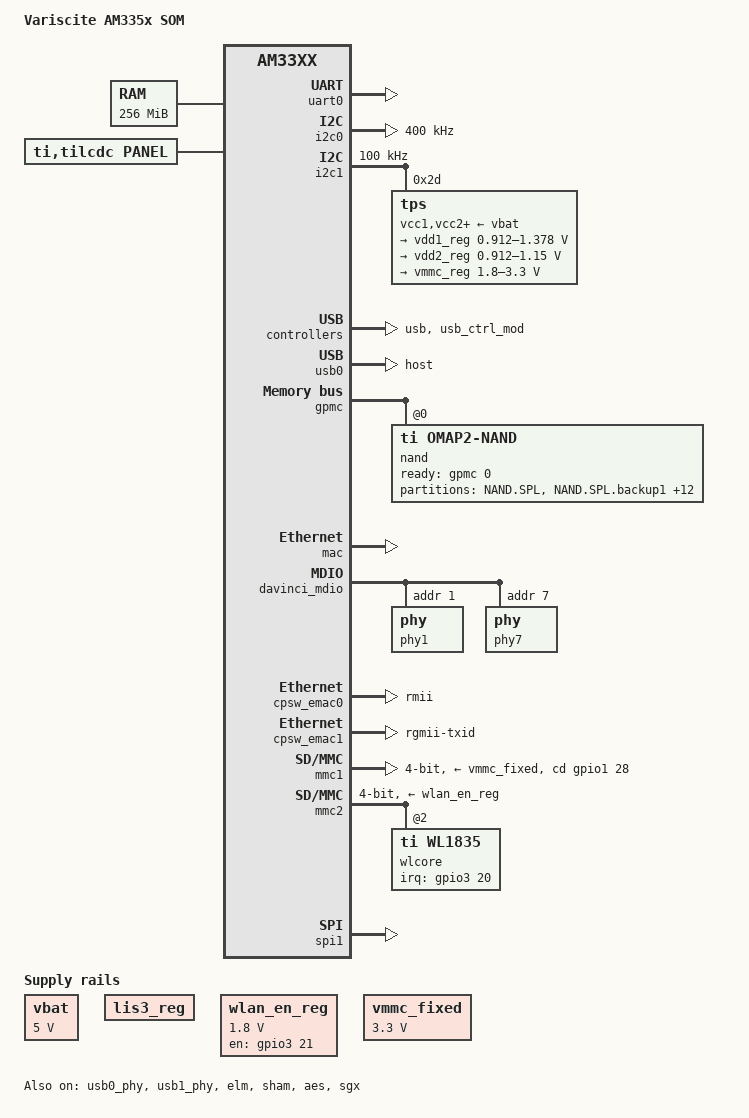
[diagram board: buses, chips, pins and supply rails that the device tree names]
/*
 * Copyright (C) 2016 Netico Solutions
 *
 * This program is free software; you can redistribute it and/or modify
 * it under the terms of the GNU General Public License version 2 as
 * published by the Free Software Foundation.
 */

/*
 * Netico uRTU
 */

/dts-v1/;

#include "am33xx.dtsi"
#include <dt-bindings/pwm/pwm.h>
#include <dt-bindings/interrupt-controller/irq.h>

/ {
	model = "Variscite AM335x SOM";
	compatible = "ti,var-som-am33", "ti,am33xx";

	cpus {
		cpu@0 {
			cpu0-supply = <&vdd1_reg>;
		};
	};

	memory {
		device_type = "memory";
		reg = <0x80000000 0x10000000>; /* 256 MB */
	};

	vbat: fixedregulator@0 {
		compatible = "regulator-fixed";
		regulator-name = "vbat";
		regulator-min-microvolt = <5000000>;
		regulator-max-microvolt = <5000000>;
		regulator-boot-on;
	};

	lis3_reg: fixedregulator@1 {
		compatible = "regulator-fixed";
		regulator-name = "lis3_reg";
		regulator-boot-on;
	};

	wlan_en_reg: fixedregulator@2 {
		compatible = "regulator-fixed";
		regulator-name = "wlan-en-regulator";
		regulator-min-microvolt = <1800000>;
		regulator-max-microvolt = <1800000>;
		gpio = <&gpio3 21 GPIO_ACTIVE_HIGH>;
		enable-active-high;
	};

	vmmc_fixed: fixedregulator@3 {
		compatible = "regulator-fixed";
		regulator-name = "vmmc_fixed";
		regulator-min-microvolt = <3300000>;
		regulator-max-microvolt = <3300000>;
		regulator-always-on;
		regulator-boot-on;
	};

	panel {
		compatible = "ti,tilcdc,panel";
		pinctrl-names = "default", "sleep";
		pinctrl-0 = <&lcd_pins_default>;
		pinctrl-1 = <&lcd_pins_sleep>;
		status = "okay";
		panel-info {
			ac-bias           = <255>;
			ac-bias-intrpt    = <0>;
			dma-burst-sz      = <16>;
			bpp               = <32>;
			fdd               = <0x80>;
			sync-edge         = <0>;
			sync-ctrl         = <1>;
			raster-order      = <0>;
			fifo-th           = <0>;
		};
		display-timings {
			800x480 {
				hactive         = <800>;
				vactive         = <480>;
				hback-porch     = <39>;
				hfront-porch    = <39>;
				hsync-len       = <47>;
				vback-porch     = <29>;
				vfront-porch    = <13>;
				vsync-len       = <2>;
				clock-frequency = <30000000>;
				hsync-active    = <1>;
				vsync-active    = <1>;
			};
		};
	};

	kim {
		compatible = "kim";
		nshutdown_gpio = <105>; /* Bank3, pin9 */
		dev_name = "/dev/ttyO1";
		flow_cntrl = <1>;
		baud_rate = <3000000>;
	};

	btwilink {
		compatible = "btwilink";
	};
};

&am33xx_pinmux {
	pinctrl-names = "default";
	pinctrl-0 = <&status_led &key_def_reset &clkout1_pin>;

    key_def_reset: key_def_reset {
        pinctrl-single,pins = <
            0x88 (PIN_INPUT_PULLUP | MUX_MODE3) /* gpmc_csn3.gpio2_0 */
        >;
    };
    
    status_led: status_led {
        pinctrl-single,pins = <
            0x8c (PIN_OUTPUT | MUX_MODE7)   /* gpmc_clk.gpio2_1 */
        >;
    };

	lcd_pins_default: lcd_pins_default {
		pinctrl-single,pins = <
			0xa0 (PIN_OUTPUT | MUX_MODE0)	/* lcd_data0.lcd_data0 */
			0xa4 (PIN_OUTPUT | MUX_MODE0)	/* lcd_data1.lcd_data1 */
			0xa8 (PIN_OUTPUT | MUX_MODE0)	/* lcd_data2.lcd_data2 */
			0xac (PIN_OUTPUT | MUX_MODE0)	/* lcd_data3.lcd_data3 */
			0xb0 (PIN_OUTPUT | MUX_MODE0)	/* lcd_data4.lcd_data4 */
			0xb4 (PIN_OUTPUT | MUX_MODE0)	/* lcd_data5.lcd_data5 */
			0xb8 (PIN_OUTPUT | MUX_MODE0)	/* lcd_data6.lcd_data6 */
			0xbc (PIN_OUTPUT | MUX_MODE0)	/* lcd_data7.lcd_data7 */
			0xc0 (PIN_OUTPUT | MUX_MODE0)	/* lcd_data8.lcd_data8 */
			0xc4 (PIN_OUTPUT | MUX_MODE0)	/* lcd_data9.lcd_data9 */
			0xc8 (PIN_OUTPUT | MUX_MODE0)	/* lcd_data10.lcd_data10 */
			0xcc (PIN_OUTPUT | MUX_MODE0)	/* lcd_data11.lcd_data11 */
			0xd0 (PIN_OUTPUT | MUX_MODE0)	/* lcd_data12.lcd_data12 */
			0xd4 (PIN_OUTPUT | MUX_MODE0)	/* lcd_data13.lcd_data13 */
			0xd8 (PIN_OUTPUT | MUX_MODE0)	/* lcd_data14.lcd_data14 */
			0xdc (PIN_OUTPUT | MUX_MODE0)	/* lcd_data15.lcd_data15 */
			0xe0 (PIN_OUTPUT | MUX_MODE0)	/* lcd_vsync.lcd_vsync */
			0xe4 (PIN_OUTPUT | MUX_MODE0)	/* lcd_hsync.lcd_hsync */
			0xe8 (PIN_OUTPUT | MUX_MODE0)	/* lcd_pclk.lcd_pclk */
			0xec (PIN_OUTPUT | MUX_MODE0)	/* lcd_ac_bias_en.lcd_ac_bias_en */
		>;
	};

	lcd_pins_sleep: lcd_pins_sleep {
		pinctrl-single,pins = <
			0xa0 (PULL_DISABLE | MUX_MODE7)	/* lcd_data0.lcd_data0 */
			0xa4 (PULL_DISABLE | MUX_MODE7)	/* lcd_data1.lcd_data1 */
			0xa8 (PULL_DISABLE | MUX_MODE7)	/* lcd_data2.lcd_data2 */
			0xac (PULL_DISABLE | MUX_MODE7)	/* lcd_data3.lcd_data3 */
			0xb0 (PULL_DISABLE | MUX_MODE7)	/* lcd_data4.lcd_data4 */
			0xb4 (PULL_DISABLE | MUX_MODE7)	/* lcd_data5.lcd_data5 */
			0xb8 (PULL_DISABLE | MUX_MODE7)	/* lcd_data6.lcd_data6 */
			0xbc (PULL_DISABLE | MUX_MODE7)	/* lcd_data7.lcd_data7 */
			0xc0 (PULL_DISABLE | MUX_MODE7)	/* lcd_data8.lcd_data8 */
			0xc4 (PULL_DISABLE | MUX_MODE7)	/* lcd_data9.lcd_data9 */
			0xc8 (PULL_DISABLE | MUX_MODE7)	/* lcd_data10.lcd_data10 */
			0xcc (PULL_DISABLE | MUX_MODE7)	/* lcd_data11.lcd_data11 */
			0xd0 (PULL_DISABLE | MUX_MODE7)	/* lcd_data12.lcd_data12 */
			0xd4 (PULL_DISABLE | MUX_MODE7)	/* lcd_data13.lcd_data13 */
			0xd8 (PULL_DISABLE | MUX_MODE7)	/* lcd_data14.lcd_data14 */
			0xdc (PULL_DISABLE | MUX_MODE7)	/* lcd_data15.lcd_data15 */
			0xe0 (PIN_INPUT_PULLDOWN | MUX_MODE7)	/* lcd_vsync.lcd_vsync */
			0xe4 (PIN_INPUT_PULLDOWN | MUX_MODE7)	/* lcd_hsync.lcd_hsync */
			0xe8 (PIN_INPUT_PULLDOWN | MUX_MODE7)	/* lcd_pclk.lcd_pclk */
			0xec (PIN_INPUT_PULLDOWN | MUX_MODE7)	/* lcd_ac_bias_en.lcd_ac_bias_en */
		>;
	};

	i2c0_pins: pinmux_i2c0_pins {
		pinctrl-single,pins = <
			0x188 (PIN_INPUT_PULLUP | MUX_MODE0)	/* i2c0_sda.i2c0_sda */
			0x18c (PIN_INPUT_PULLUP | MUX_MODE0)	/* i2c0_scl.i2c0_scl */
		>;
	};

	i2c1_pins: pinmux_i2c1_pins {
		pinctrl-single,pins = <
			0x158 (PIN_INPUT_PULLUP | MUX_MODE2)	/* spi0_d1.i2c1_sda */
			0x15c (PIN_INPUT_PULLUP | MUX_MODE2)	/* spi0_cs0.i2c1_scl */
		>;
	};

	uart0_pins: pinmux_uart0_pins {
		pinctrl-single,pins = <
			0x170 (PIN_INPUT_PULLUP | MUX_MODE0)	/* uart0_rxd.uart0_rxd */
			0x174 (PIN_OUTPUT_PULLDOWN | MUX_MODE0)		/* uart0_txd.uart0_txd */
		>;
	};

	clkout1_pin: pinmux_clkout1_pin {
		pinctrl-single,pins = <
			0x1b0 (PIN_OUTPUT_PULLDOWN | MUX_MODE3)	/* xdma_event_intr0.clkout1 */
		>;
	};

	nandflash_pins_default: pinmux_nandflash_pins_default {
		pinctrl-single,pins = <
			0x0 (PIN_INPUT_PULLUP | MUX_MODE0)	/* gpmc_ad0.gpmc_ad0 */
			0x4 (PIN_INPUT_PULLUP | MUX_MODE0)	/* gpmc_ad1.gpmc_ad1 */
			0x8 (PIN_INPUT_PULLUP | MUX_MODE0)	/* gpmc_ad2.gpmc_ad2 */
			0xc (PIN_INPUT_PULLUP | MUX_MODE0)	/* gpmc_ad3.gpmc_ad3 */
			0x10 (PIN_INPUT_PULLUP | MUX_MODE0)	/* gpmc_ad4.gpmc_ad4 */
			0x14 (PIN_INPUT_PULLUP | MUX_MODE0)	/* gpmc_ad5.gpmc_ad5 */
			0x18 (PIN_INPUT_PULLUP | MUX_MODE0)	/* gpmc_ad6.gpmc_ad6 */
			0x1c (PIN_INPUT_PULLUP | MUX_MODE0)	/* gpmc_ad7.gpmc_ad7 */
			0x70 (PIN_INPUT_PULLUP | MUX_MODE0)	/* gpmc_wait0.gpmc_wait0 */
			0x74 (PIN_INPUT_PULLUP | MUX_MODE7)	/* gpmc_wpn.gpio0_30 */
			0x7c (PIN_OUTPUT | MUX_MODE0)		/* gpmc_csn0.gpmc_csn0  */
			0x90 (PIN_OUTPUT | MUX_MODE0)		/* gpmc_advn_ale.gpmc_advn_ale */
			0x94 (PIN_OUTPUT | MUX_MODE0)		/* gpmc_oen_ren.gpmc_oen_ren */
			0x98 (PIN_OUTPUT | MUX_MODE0)		/* gpmc_wen.gpmc_wen */
			0x9c (PIN_OUTPUT | MUX_MODE0)		/* gpmc_ben0_cle.gpmc_ben0_cle */
		>;
	};

	nandflash_pins_sleep: pinmux_nandflash_pins_sleep {
		pinctrl-single,pins = <
			0x0 (PIN_INPUT_PULLDOWN | MUX_MODE7)
			0x4 (PIN_INPUT_PULLDOWN | MUX_MODE7)
			0x8 (PIN_INPUT_PULLDOWN | MUX_MODE7)
			0xc (PIN_INPUT_PULLDOWN | MUX_MODE7)
			0x10 (PIN_INPUT_PULLDOWN | MUX_MODE7)
			0x14 (PIN_INPUT_PULLDOWN | MUX_MODE7)
			0x18 (PIN_INPUT_PULLDOWN | MUX_MODE7)
			0x1c (PIN_INPUT_PULLDOWN | MUX_MODE7)
			0x70 (PIN_INPUT_PULLDOWN | MUX_MODE7)
			0x74 (PIN_INPUT_PULLDOWN | MUX_MODE7)
			0x7c (PIN_INPUT_PULLDOWN | MUX_MODE7)
			0x90 (PIN_INPUT_PULLDOWN | MUX_MODE7)
			0x94 (PIN_INPUT_PULLDOWN | MUX_MODE7)
			0x98 (PIN_INPUT_PULLDOWN | MUX_MODE7)
			0x9c (PIN_INPUT_PULLDOWN | MUX_MODE7)
		>;
	};

	cpsw_default: cpsw_default {
		pinctrl-single,pins = <
			/* Slave 1 */
		0x10c (PIN_INPUT_PULLDOWN | MUX_MODE1)     /* mii1_crs.rmii1_crs_dv */
		0x110 (PIN_INPUT_PULLDOWN | MUX_MODE1)     /* mii1_rxerr.rmii1_rxerr */
		0x114 (PIN_OUTPUT | MUX_MODE1)             /* mii1_txen.rmii1_txen */
		0x124 (PIN_OUTPUT | MUX_MODE1)             /* mii1_txd1.rmii1_txd1 */
		0x128 (PIN_OUTPUT | MUX_MODE1)             /* mii1_txd0.rmii1_txd0 */
		0x13c (PIN_INPUT_PULLDOWN | MUX_MODE1)     /* mii1_rxd1.rmii1_rxd1 */
		0x140 (PIN_INPUT_PULLDOWN | MUX_MODE1)     /* mii1_rxd0.rmii1_rxd0 */
		0x144 (PIN_INPUT_PULLDOWN | MUX_MODE0)     /* rmii1_refclk.rmii1_refclk */
		0x138 (PIN_INPUT_PULLUP | MUX_MODE7)       /* mii1_rxd2.gpio2_19 */

		/* Slave 2 */
		0x40 (PIN_OUTPUT | MUX_MODE2)	           /* gpmc_a0.rgmii2_tctl */
		0x44 (PIN_INPUT_PULLDOWN | MUX_MODE2)	   /* gpmc_a1.rgmii2_rctl */
		0x48 (PIN_OUTPUT | MUX_MODE2)	           /* gpmc_a2.rgmii2_td3 */
		0x4c (PIN_OUTPUT | MUX_MODE2)              /* gpmc_a3.rgmii2_td2 */
		0x50 (PIN_OUTPUT | MUX_MODE2)              /* gpmc_a4.rgmii2_td1 */
		0x54 (PIN_OUTPUT | MUX_MODE2)              /* gpmc_a5.rgmii2_td0 */
		0x58 (PIN_OUTPUT | MUX_MODE2)              /* gpmc_a6.rgmii2_tclk */
		0x5c (PIN_INPUT_PULLDOWN | MUX_MODE2)      /* gpmc_a7.rgmii2_rclk */
		0x60 (PIN_INPUT_PULLDOWN | MUX_MODE2)      /* gpmc_a8.rgmii2_rd3 */
		0x64 (PIN_INPUT_PULLDOWN | MUX_MODE2)      /* gpmc_a9.rgmii2_rd2 */
		0x68 (PIN_INPUT_PULLDOWN | MUX_MODE2)      /* gpmc_a10.rgmii2_rd1 */
		0x6c (PIN_INPUT_PULLDOWN | MUX_MODE2)      /* gpmc_a11.rgmii2_rd0 */
		0x108 (PIN_INPUT_PULLDOWN | MUX_MODE1)     /* mii1_col.rmii2_refclk */
		0x130 (PIN_INPUT_PULLUP | MUX_MODE7)       /* mii1_rxclk.gpio3_10 */
		>;
	};

	cpsw_sleep: cpsw_sleep {
		pinctrl-single,pins = <
		/* Slave 1 reset value */
		0x10c (PIN_INPUT_PULLDOWN | MUX_MODE7)
		0x110 (PIN_INPUT_PULLDOWN | MUX_MODE7)
		0x114 (PIN_INPUT_PULLDOWN | MUX_MODE7)
		0x124 (PIN_INPUT_PULLDOWN | MUX_MODE7)
		0x128 (PIN_INPUT_PULLDOWN | MUX_MODE7)
		0x13c (PIN_INPUT_PULLDOWN | MUX_MODE7)
		0x140 (PIN_INPUT_PULLDOWN | MUX_MODE7)
		0x144 (PIN_INPUT_PULLDOWN | MUX_MODE7)
		0x138 (PIN_INPUT_PULLUP | MUX_MODE7)       /* mii1_rxd2.gpio2_19 */

		/* Slave 2 reset value */
		0x40 (PIN_INPUT_PULLDOWN | MUX_MODE7) 
		0x44 (PIN_INPUT_PULLDOWN | MUX_MODE7)
		0x48 (PIN_INPUT_PULLDOWN | MUX_MODE7)
		0x4c (PIN_INPUT_PULLDOWN | MUX_MODE7)
		0x50 (PIN_INPUT_PULLDOWN | MUX_MODE7)
		0x54 (PIN_INPUT_PULLDOWN | MUX_MODE7)
		0x58 (PIN_INPUT_PULLDOWN | MUX_MODE7)
		0x5c (PIN_INPUT_PULLDOWN | MUX_MODE7)
		0x60 (PIN_INPUT_PULLDOWN | MUX_MODE7)
		0x64 (PIN_INPUT_PULLDOWN | MUX_MODE7)
		0x68 (PIN_INPUT_PULLDOWN | MUX_MODE7)
		0x6c (PIN_INPUT_PULLDOWN | MUX_MODE7)
		>;
	};

	davinci_mdio_default: davinci_mdio_default {
		pinctrl-single,pins = <
			/* MDIO */
			0x148 (PIN_INPUT_PULLUP | SLEWCTRL_FAST | MUX_MODE0)	/* mdio_data.mdio_data */
			0x14c (PIN_OUTPUT_PULLUP | MUX_MODE0)			/* mdio_clk.mdio_clk */
		>;
	};

	davinci_mdio_sleep: davinci_mdio_sleep {
		pinctrl-single,pins = <
			/* MDIO reset value */
			0x148 (PIN_INPUT_PULLDOWN | MUX_MODE7)
			0x14c (PIN_INPUT_PULLDOWN | MUX_MODE7)
		>;
	};

	mmc1_pins_default: pinmux_mmc1_pins {
		pinctrl-single,pins = <
			0x0F0 (PIN_INPUT_PULLUP | MUX_MODE0)	/* mmc0_dat3.mmc0_dat3 */
			0x0F4 (PIN_INPUT_PULLUP | MUX_MODE0)	/* mmc0_dat2.mmc0_dat2 */
			0x0F8 (PIN_INPUT_PULLUP | MUX_MODE0)	/* mmc0_dat1.mmc0_dat1 */
			0x0FC (PIN_INPUT_PULLUP | MUX_MODE0)	/* mmc0_dat0.mmc0_dat0 */
			0x100 (PIN_INPUT_PULLUP | MUX_MODE0)	/* mmc0_clk.mmc0_clk */
			0x104 (PIN_INPUT_PULLUP | MUX_MODE0)	/* mmc0_cmd.mmc0_cmd */
			0x78  (PIN_INPUT_PULLUP | MUX_MODE7)	/* gpmc_ben1.gpio1_28 */
		>;
	};

	mmc1_pins_sleep: pinmux_mmc1_pins_sleep {
		pinctrl-single,pins = <
			0x0F0 (PIN_INPUT_PULLDOWN | MUX_MODE7)
			0x0F4 (PIN_INPUT_PULLDOWN | MUX_MODE7)
			0x0F8 (PIN_INPUT_PULLDOWN | MUX_MODE7)
			0x0FC (PIN_INPUT_PULLDOWN | MUX_MODE7)
			0x100 (PIN_INPUT_PULLDOWN | MUX_MODE7)
			0x104 (PIN_INPUT_PULLDOWN | MUX_MODE7)
			0x78  (PIN_INPUT_PULLDOWN | MUX_MODE7)
		>;
	};

	/* wl12xx/wl18xx card on mmc1 */

	mmc2_pins_default: pinmux_mmc2_pins_default {
		pinctrl-single,pins = <
			0x20 (PIN_INPUT_PULLUP | MUX_MODE2)	/* gpmc_ad8.mmc1_dat0 */
			0x24 (PIN_INPUT_PULLUP | MUX_MODE2)	/* gpmc_ad9.mmc1_dat1 */
			0x28 (PIN_INPUT_PULLUP | MUX_MODE2)	/* gpmc_ad10.mmc1_dat2 */
			0x2c (PIN_INPUT_PULLUP | MUX_MODE2)	/* gpmc_ad11.mmc1_dat3 */
			0x84 (PIN_INPUT_PULLUP | MUX_MODE2)	/* gpmc_csn2.mmc1_cmd */
			0x80 (PIN_INPUT_PULLUP | MUX_MODE2)	/* gpmc_csn1.mmc1_clk */
		>;
	};
	
	mmc2_pins_sleep: pinmux_mmc2_pins_sleep {
		pinctrl-single,pins = <
			0x20 (PIN_INPUT_PULLUP | MUX_MODE7)	/* gpmc_ad8.mmc1_dat0 */
			0x24 (PIN_INPUT_PULLUP | MUX_MODE7)	/* gpmc_ad9.mmc1_dat1 */
			0x28 (PIN_INPUT_PULLUP | MUX_MODE7)	/* gpmc_ad10.mmc1_dat2 */
			0x2c (PIN_INPUT_PULLUP | MUX_MODE7)	/* gpmc_ad11.mmc1_dat3 */
			0x84 (PIN_INPUT_PULLUP | MUX_MODE7)	/* gpmc_csn2.mmc1_cmd */
			0x80 (PIN_INPUT_PULLUP | MUX_MODE7)	/* gpmc_csn1.mmc1_clk */
		>;
	};	

	/* wl18xx card enable/irq GPIOs. */
	wlan_pins_default: pinmux_wlan_pins_default {
		pinctrl-single,pins = <
			0x1AC (PIN_OUTPUT_PULLUP | MUX_MODE7)	/* mcasp0_ahclkx.gpio3_21, WL_EN */
			0x1A8 (PIN_INPUT_PULLUP | MUX_MODE7)	/* mcasp0_axr1.gpio3_20, WL_IRQ */
			0x12C (PIN_OUTPUT_PULLDOWN | MUX_MODE7)	/* mii1_txclk.gpio3_9, BT_EN */
		>;
	};

	wlan_pins_sleep: pinmux_wlan_pins_sleep {
		pinctrl-single,pins = <
			0x1AC (PIN_OUTPUT_PULLUP | MUX_MODE7)	/* mcasp0_ahclkx.gpio3_21, WL_EN */
			0x1A8 (PIN_INPUT_PULLUP | MUX_MODE7)	/* mcasp0_axr1.gpio3_20, WL_IRQ */
			0x12C (PIN_OUTPUT_PULLUP | MUX_MODE7)	/* mii1_txclk.gpio3_9, BT_EN */
		>;
	};

	spi1_pins_default: pinmux_spi1_pins_default {
		pinctrl-single,pins = <
            0x108 (PIN_OUTPUT | MUX_MODE2)  /* 167 pin: mii1_col.spi1_sclk : CLK */
            0x168 (PIN_OUTPUT | MUX_MODE4)  /* 163 pin: uart0_ctsn.spi1_d0 : MOSI */
            0x16c (PIN_INPUT | MUX_MODE4)   /* 165 pin: uart0_rtsn.spi1_d1 : MISO */
            0x19c (PIN_OUTPUT | MUX_MODE3)  /* 161 pin: mcasp0_ahclkr.spi1_cs0: CS */
		>;
	};

	spi1_pins_sleep: pinmux_spi1_pins_sleep {
		pinctrl-single,pins = <
			0x108 (PIN_INPUT_PULLDOWN | MUX_MODE7)	
			0x168 (PIN_INPUT_PULLDOWN | MUX_MODE7)
			0x16C (PIN_INPUT_PULLDOWN | MUX_MODE7)
			0x19C (PIN_INPUT_PULLDOWN | MUX_MODE7)
		>;
	};
};

&uart0 {
	pinctrl-names = "default";
	pinctrl-0 = <&uart0_pins>;

	status = "okay";
};

&uart4 {
	/*
	pinctrl-names = "default", "sleep";
	pinctrl-0 = <&uart4_pins_default>;
	pinctrl-1 = <&uart4_pins_sleep>;
	*/
};

&i2c0 {
	pinctrl-names = "default";
	pinctrl-0 = <&i2c0_pins>;

	status = "okay";
	clock-frequency = <400000>;

};


&i2c1 {
	pinctrl-names = "default";
	pinctrl-0 = <&i2c1_pins>;

	status = "okay";
	clock-frequency = <100000>;

	tps: tps@2d {
		status = "okay";
		reg = <0x2d>;
	};
};

&usb {
	status = "okay";
};

&usb_ctrl_mod {
	status = "okay";
};

&usb0_phy {
	status = "okay";
};

&usb1_phy {
	status = "okay";
};

&usb0 {
	status = "okay";
	dr_mode = "host";
};

&cppi41dma  {
	status = "okay";
};

&wkup_m3 {
	ti,scale-data-fw = "am335x-evm-scale-data.bin";
};

&elm {
	status = "okay";
};

&gpmc {
	status = "okay";
	pinctrl-names = "default", "sleep";
	pinctrl-0 = <&nandflash_pins_default>;
	pinctrl-1 = <&nandflash_pins_sleep>;
	ranges = <0 0 0x08000000 0x10000000>;	/* CS0: 256 MB for NAND */
	nand@0,0 {
		compatible = "ti,omap2-nand";
		reg = <0 0 4>; /* CS0, offset 0, IO size 4 */
		interrupt-parent = <&intc>;
		interrupts = <100>;
		ready-gpio = <&gpmc 0 GPIO_ACTIVE_HIGH>; /* gpmc_wait0 */
		ti,nand-ecc-opt = "bch8";
		ti,elm-id = <&elm>;
		nand-bus-width = <8>;
		gpmc,device-width = <1>;
		gpmc,sync-clk-ps = <0>;
		gpmc,cs-on-ns = <0>;
		gpmc,cs-rd-off-ns = <44>;
		gpmc,cs-wr-off-ns = <44>;
		gpmc,adv-on-ns = <6>;
		gpmc,adv-rd-off-ns = <34>;
		gpmc,adv-wr-off-ns = <44>;
		gpmc,we-on-ns = <0>;
		gpmc,we-off-ns = <40>;
		gpmc,oe-on-ns = <0>;
		gpmc,oe-off-ns = <54>;
		gpmc,access-ns = <64>;
		gpmc,rd-cycle-ns = <82>;
		gpmc,wr-cycle-ns = <82>;
		gpmc,bus-turnaround-ns = <0>;
		gpmc,cycle2cycle-delay-ns = <0>;
		gpmc,clk-activation-ns = <0>;
		gpmc,wr-access-ns = <40>;
		gpmc,wr-data-mux-bus-ns = <0>;
		/* MTD partition table */
		/* All SPL-* partitions are sized to minimal length
		 * which can be independently programmable. For
		 * NAND flash this is equal to size of erase-block */
		#address-cells = <1>;
		#size-cells = <1>;
		partition@0 {
			label = "NAND.SPL";
			reg = <0x00000000 0x000020000>;
		};
		partition@1 {
			label = "NAND.SPL.backup1";
			reg = <0x00020000 0x00020000>;
		};
		partition@2 {
			label = "NAND.SPL.backup2";
			reg = <0x00040000 0x00020000>;
		};
		partition@3 {
			label = "NAND.SPL.backup3";
			reg = <0x00060000 0x00020000>;
		};
		partition@4 {
			label = "NAND.u-boot-spl-os";
			reg = <0x00080000 0x00040000>;
		};
		partition@5 {
			label = "NAND.u-boot";
			reg = <0x000C0000 0x00100000>;
		};
		partition@6 {
			label = "NAND.u-boot-env";
			reg = <0x001C0000 0x00020000>;
		};
		partition@7 {
			label = "NAND.u-boot-env.backup1";
			reg = <0x001E0000 0x00020000>;
		};
		partition@8 {
			label = "NAND.kernel";
			reg = <0x00200000 0x00800000>;
		};
		partition@9 {
			label = "NAND.file-system";
			reg = <0x00A00000 0x3F600000>;
		};
		partition@10 {
			label = "Android NAND.u-boot";
			reg = <0x00080000 0x00260000>;
		};
		partition@11 {
			label = "Android NAND.u-boot-env";
			reg = <0x000000260000 0x000000280000>;
		};
		partition@12 {
			label = "Android Kernel";
			reg = <0x000000280000 0x000000780000>;
		};
		partition@13 {
			label = "Android File System";
			reg = <0x000000780000 0x000010000000>;
		};
	};
};

#include "tps65910.dtsi"

&tps {
	ti,en-ck32k-xtal;

	vcc1-supply = <&vbat>;
	vcc2-supply = <&vbat>;
	vcc3-supply = <&vbat>;
	vcc4-supply = <&vbat>;
	vcc5-supply = <&vbat>;
	vcc6-supply = <&vbat>;
	vcc7-supply = <&vbat>;
	vccio-supply = <&vbat>;

	rtc0 {
		compatible = "ti,tps65910-rtc";
		interrupts = <0>;
	};

	regulators {
		vrtc_reg: regulator@0 {
			regulator-always-on;
		};

		vio_reg: regulator@1 {
			regulator-always-on;
		};

		vdd1_reg: regulator@2 {
			/* VDD_MPU voltage limits 0.95V - 1.325V with +/-4% tolerance */
			regulator-name = "vdd_mpu";
			regulator-min-microvolt = <912500>;
			regulator-max-microvolt = <1378000>;
			regulator-boot-on;
			regulator-always-on;
		};

		vdd2_reg: regulator@3 {
			/* VDD_CORE voltage limits 0.95V - 1.1V with +/-4% tolerance */
			regulator-name = "vdd_core";
			regulator-min-microvolt = <912500>;
			regulator-max-microvolt = <1150000>;
			regulator-boot-on;
			regulator-always-on;
		};

		vdd3_reg: regulator@4 {
			regulator-always-on;
		};

		vdig1_reg: regulator@5 {
			regulator-always-on;
		};

		vdig2_reg: regulator@6 {
			regulator-always-on;
		};

		vpll_reg: regulator@7 {
			regulator-always-on;
		};

		vdac_reg: regulator@8 {
			regulator-always-on;
		};

		vaux1_reg: regulator@9 {
			regulator-always-on;
		};

		vaux2_reg: regulator@10 {
			regulator-always-on;
		};

		vaux33_reg: regulator@11 {
			regulator-always-on;
		};

		vmmc_reg: regulator@12 {
			regulator-min-microvolt = <1800000>;
			regulator-max-microvolt = <3300000>;
			regulator-always-on;
		};
	};
};

&mac {
	pinctrl-names = "default", "sleep";
	pinctrl-0 = <&cpsw_default>;
	pinctrl-1 = <&cpsw_sleep>;
	dual_emac = <1>;
	status = "okay";
};

&davinci_mdio {
	pinctrl-names = "default", "sleep";
	pinctrl-0 = <&davinci_mdio_default>;
	pinctrl-1 = <&davinci_mdio_sleep>;
	status = "okay";

	phy1: phy@1 {
		reg = <1>;
		micrel,reset-regs;
	};

	phy7: phy@17 {
		reg = <7>;
		micrel,reset-regs;
	};
};

&cpsw_emac0 {
	phy_id = <&davinci_mdio>, <1>;
	phy-mode = "rmii";
	dual_emac_res_vlan = <1>;
};

&cpsw_emac1 {
	phy_id = <&davinci_mdio>, <7>;
	phy-mode = "rgmii-txid";
	dual_emac_res_vlan = <2>;
};


&phy_sel {
	rmii-clock-ext;
};

&mmc1 {
	status = "okay";
	vmmc-supply = <&vmmc_fixed>;
	bus-width = <4>;
	pinctrl-names = "default", "sleep";
	pinctrl-0 = <&mmc1_pins_default>;
	pinctrl-1 = <&mmc1_pins_sleep>;
	cd-gpios = <&gpio1 28 GPIO_ACTIVE_HIGH>;
};

&mmc2 {
	status = "okay";
	vmmc-supply = <&wlan_en_reg>;
	bus-width = <4>;
	pinctrl-names = "default", "sleep";
	pinctrl-0 = <&mmc2_pins_default &wlan_pins_default>;
	pinctrl-1 = <&mmc2_pins_sleep &wlan_pins_sleep>;
	ti,non-removable;
	ti,needs-special-hs-handling;
	cap-power-off-card;
	keep-power-in-suspend;

	#address-cells = <1>;
	#size-cells = <0>;
	wlcore: wlcore@2 {
		compatible = "ti,wl1835";
		reg = <2>;
		interrupt-parent = <&gpio3>;
		interrupts = <20 IRQ_TYPE_LEVEL_HIGH>;
	};
};

&sham {
	status = "okay";
};

&aes {
	status = "okay";
};

&sgx {
	status = "okay";
};

&gpio0 {
	ti,no-reset-on-init;
};

&spi1 {
	status = "okay";

	pinctrl-names = "default", "sleep";
	pinctrl-0 = <&spi1_pins_default>;
	pinctrl-1 = <&spi1_pins_sleep>;
    ti,pindir-d0-out-d1-in;

#if 0
    spidev0: spi@0 {
		compatible = "spidev";
		reg = <0>;
		spi-max-frequency = <16000000>;
		spi-cpha;
	};

	spidev1: spi@1 {
		compatible = "spidev";
		reg = <1>;
		spi-max-frequency = <16000000>;
	};
#endif
};
